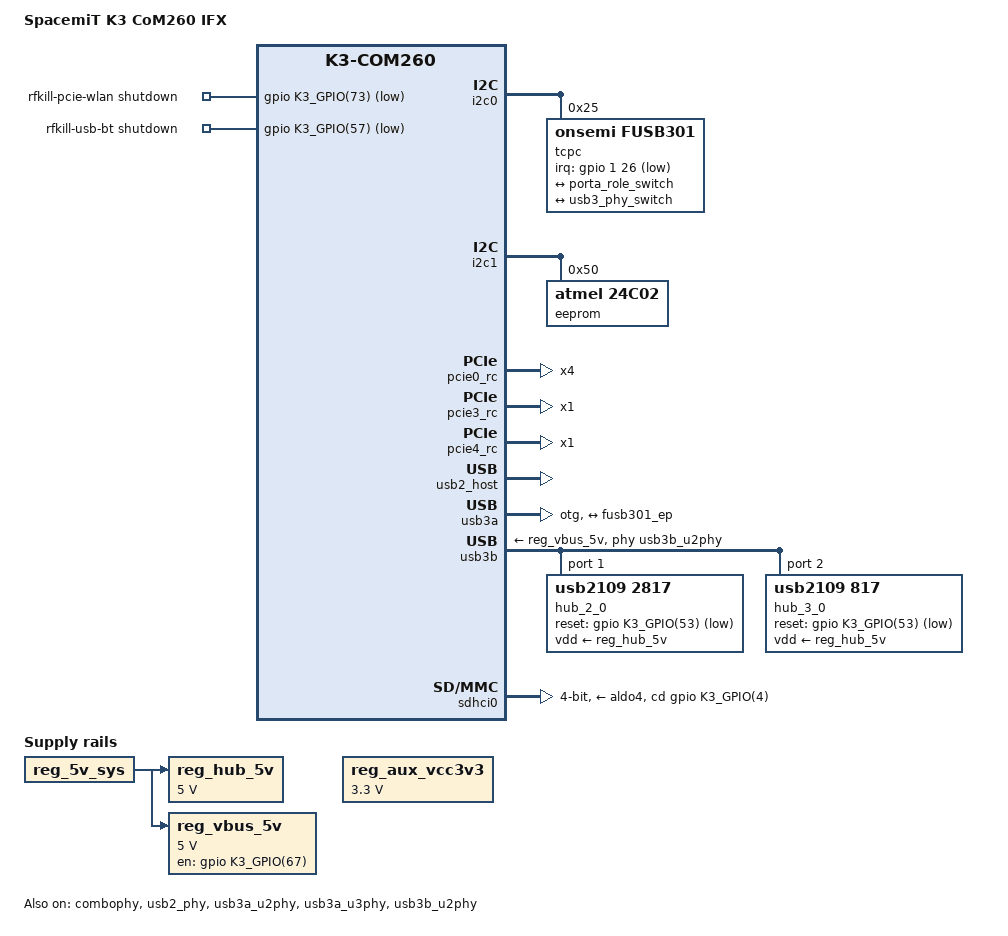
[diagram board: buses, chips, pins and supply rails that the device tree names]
// SPDX-License-Identifier: (GPL-2.0 OR MIT)
/*
 * Copyright (c) 2026 SpacemiT (Hangzhou) Technology Co. Ltd
 * Copyright (c) 2026 Yixun Lan <dlan@kernel.org>
 */
#include <dt-bindings/phy/phy.h>

#include "k3-com260.dtsi"

/ {
	model = "SpacemiT K3 CoM260 IFX";
	compatible = "spacemit,k3-com260-ifx", "spacemit,k3-com260", "spacemit,k3";

	aliases {
		serial0 = &uart0;
		ethernet0 = &eth1;
	};

	chosen {
		stdout-path = "serial0:115200n8";
	};

	reg_hub_5v: regulator-usb3-hub-5v {
		compatible = "regulator-fixed";
		regulator-name = "USB30_HUB";
		regulator-min-microvolt = <5000000>;
		regulator-max-microvolt = <5000000>;
		regulator-boot-on;
		regulator-always-on;
		vin-supply = <&reg_5v_sys>;
	};

	reg_vbus_5v: regulator-usb3-vbus-5v {
		compatible = "regulator-fixed";
		regulator-name = "USB30_VBUS";
		regulator-min-microvolt = <5000000>;
		regulator-max-microvolt = <5000000>;
		vin-supply = <&reg_5v_sys>;
		gpio = <&gpio K3_GPIO(67) GPIO_ACTIVE_HIGH>;
		enable-active-high;
	};

	rfkill-pcie-wlan {
		compatible = "rfkill-gpio";
		label = "rfkill-pcie-wlan";
		radio-type = "wlan";
		shutdown-gpios = <&gpio K3_GPIO(73) GPIO_ACTIVE_LOW>;
	};

	rfkill-usb-bt {
		compatible = "rfkill-gpio";
		label = "rfkill-usb-bt";
		radio-type = "bluetooth";
		shutdown-gpios = <&gpio K3_GPIO(57) GPIO_ACTIVE_LOW>;
	};

	reg_aux_vcc3v3: regulator-aux-vcc3v3 {
		compatible = "regulator-fixed";
		regulator-name = "AUX_VCC3V3";
		regulator-min-microvolt = <3300000>;
		regulator-max-microvolt = <3300000>;
		regulator-always-on;
	};
};

&combophy {
	spacemit,apmu = <&syscon_apmu 0x14>;
	status = "okay";
};

&i2c0 {
	pinctrl-names = "default";
	pinctrl-0 = <&i2c0_0_cfg>;
	status = "okay";

	tcpc@25 {
		compatible = "onsemi,fusb301";
		reg = <0x25>;
		irq-gpios = <&gpio 1 26 GPIO_ACTIVE_LOW>;
		suspend-vbus-off;
		wakeup-source;
		status = "okay";

		typec_0: connector@0 {
			compatible = "usb-c-connector";
			label = "USB-C";
			data-role = "dual";
			power-role = "dual";
			try-power-role = "sink";
			typec-power-opmode = "default";
			pd-disable;

			ports {
				#address-cells = <0x1>;
				#size-cells = <0x0>;

				port@0 {
					reg = <0x0>;
					fusb301_ep: endpoint {
						remote-endpoint = <&porta_role_switch>;
					};
				};

				port@1 {
					reg = <0x1>;
					fusb301_sw_ep: endpoint {
						remote-endpoint = <&usb3_phy_switch>;
					};
				};
			};
		};
	};
};

&i2c1 {
	pinctrl-names = "default";
	pinctrl-0 = <&i2c1_1_cfg>;
	status = "okay";

	eeprom@50 {
		compatible = "atmel,24c02";
		pagesize = <8>;
		reg = <0x50>;
		read-only;
		size = <256>;
		status = "okay";
	};
};

&pcie0_rc {
	pinctrl-names = "default";
	pinctrl-0 = <&pcie0_1_cfg>;
	num-lanes = <4>;
	status = "okay";

	pcie@0 {
		vpcie3v3-supply = <&reg_aux_vcc3v3>;
		phys = <&combophy 0 PHY_TYPE_PCIE>,
		       <&combophy 1 PHY_TYPE_PCIE>;
	};
};

&pcie3_rc {
	pinctrl-names = "default";
	pinctrl-0 = <&pcie3_0_cfg>;
	num-lanes = <1>;
	status = "okay";

	pcie@0 {
		vpcie3v3-supply = <&reg_aux_vcc3v3>;
		phys = <&combophy 4 PHY_TYPE_PCIE>;
	};
};

&pcie4_rc {
	pinctrl-names = "default";
	pinctrl-0 = <&pcie4_1_cfg>;
	num-lanes = <1>;
	status = "okay";

	pcie@0 {
		vpcie3v3-supply = <&reg_aux_vcc3v3>;
		phys = <&combophy 5 PHY_TYPE_PCIE>;
	};
};

&usb2_host {
	status = "okay";
};

&usb2_phy {
	status = "okay";
};

&usb3a_u2phy {
	status = "okay";
};

&usb3a_u3phy {
	orientation-switch;
	status = "okay";

	port {
		usb3_phy_switch: endpoint {
			remote-endpoint = <&fusb301_sw_ep>;
		};
	};
};

&usb3a {
	dr_mode = "otg";
	usb-role-switch;
	role-switch-default-mode = "peripheral";
	monitor-vbus;
	reset-on-resume;
	status = "okay";

	ports {
		#address-cells = <1>;
		#size-cells = <0>;
		port@0 {
			reg = <0x0>;
			porta_role_switch: endpoint {
				remote-endpoint = <&fusb301_ep>;
			};
		};
	};
};

&usb3b {
	phys = <&usb3b_u2phy>, <&combophy 2 PHY_TYPE_USB3>;
	phy-names = "usb2-phy", "usb3-phy";
	status = "okay";
	vbus-supply = <&reg_vbus_5v>;
	#address-cells = <1>;
	#size-cells = <0>;

	hub_2_0: hub@1 {
		compatible = "usb2109,2817";
		reg = <1>;
		vdd-supply = <&reg_hub_5v>;
		peer-hub = <&hub_3_0>;
		reset-gpios = <&gpio K3_GPIO(53) GPIO_ACTIVE_LOW>;
	};

	hub_3_0: hub@2 {
		compatible = "usb2109,817";
		reg = <2>;
		vdd-supply = <&reg_hub_5v>;
		peer-hub = <&hub_2_0>;
		reset-gpios = <&gpio K3_GPIO(53) GPIO_ACTIVE_LOW>;
	};
};

&usb3b_u2phy {
	status = "okay";
};

&sdhci0 {
	pinctrl-names = "default","uhs";
	pinctrl-0 = <&mmc1_cfg>;
	pinctrl-1 = <&mmc1_uhs_cfg>;
	bus-width = <4>;
	cd-gpios = <&gpio K3_GPIO(4) GPIO_ACTIVE_HIGH>;
	no-mmc;
	no-sdio;
	disable-wp;
	cap-sd-highspeed;
	vmmc-supply = <&aldo4>;
	vqmmc-supply = <&aldo1>;
	sd-uhs-sdr25;
	sd-uhs-sdr50;
	sd-uhs-sdr104;
	status = "okay";
};
